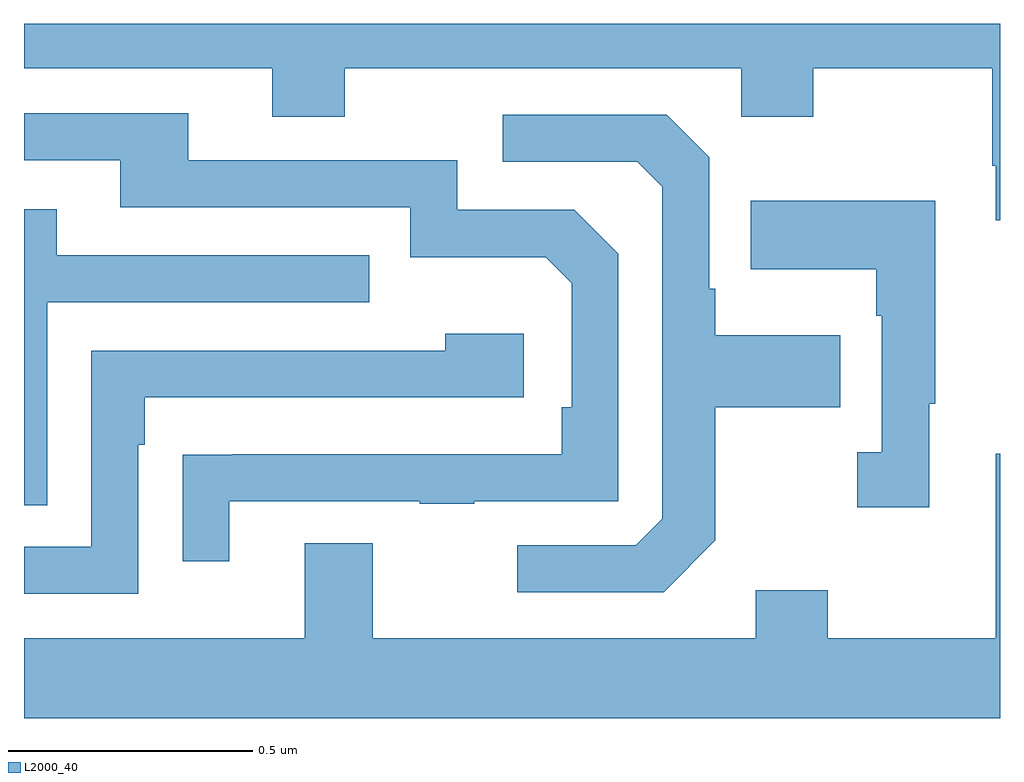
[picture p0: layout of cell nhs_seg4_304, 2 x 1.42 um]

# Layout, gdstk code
import gdstk
lib = gdstk.Library(unit=1e-6, precision=1e-09)
def P(c, l, *ps):  # polygons
    for p in ps: c.add(gdstk.Polygon(p, *l))
L2000_40 = (2000, 40)

nhs_seg4_304 = lib.new_cell('nhs_seg4_304')
P(nhs_seg4_304, L2000_40, [(116,808.9),(114,808.9),(114,808.808),(114.509,808.808),(114.509,808.709),(114.657,808.709),(114.657,808.808),(115.47,808.808),(115.47,808.709),(115.617,808.709),(115.617,808.808),(115.984,808.808),(115.984,808.609),(115.991,808.609),(115.991,808.497),(116,808.497)],
  [(114.421,807.921),(114.811,807.921),(114.811,807.916),(114.923,807.916),(114.923,807.921),(115.218,807.921),(115.218,808.428),(115.128,808.518),(114.888,808.518),(114.888,808.62),(114.337,808.62),(114.337,808.716),(114,808.716),(114,808.62),(114.197,808.62),(114.197,808.524),(114.792,808.524),(114.792,808.421),(115.069,808.421),(115.122,808.368),(115.122,808.114),(115.102,808.114),(115.102,808.017),(114.427,808.017),(114.427,808.016),(114.325,808.016),(114.325,807.798),(114.421,807.798)],
  [(115.417,807.841),(115.417,808.114),(115.673,808.114),(115.673,808.261),(115.417,808.261),(115.417,808.357),(115.404,808.357),(115.404,808.626),(115.317,808.713),(114.981,808.713),(114.981,808.617),(115.257,808.617),(115.308,808.566),(115.308,807.885),(115.254,807.831),(115.011,807.831),(115.011,807.735),(115.311,807.735)],
  [(115.855,808.121),(115.867,808.121),(115.867,808.537),(115.489,808.537),(115.489,808.397),(115.746,808.397),(115.746,808.301),(115.758,808.301),(115.758,808.022),(115.707,808.022),(115.707,807.909),(115.855,807.909)],
  [(114.048,808.329),(114.707,808.329),(114.707,808.425),(114.067,808.425),(114.067,808.519),(114,808.519),(114,807.913),(114.048,807.913)],
  [(114.234,808.037),(114.247,808.037),(114.247,808.134),(115.024,808.134),(115.024,808.264),(114.863,808.264),(114.863,808.23),(114.138,808.23),(114.138,807.828),(114,807.828),(114,807.732),(114.234,807.732)],
  [(116,808.018),(115.991,808.018),(115.991,807.64),(115.647,807.64),(115.647,807.739),(115.499,807.739),(115.499,807.64),(114.715,807.64),(114.715,807.835),(114.575,807.835),(114.575,807.64),(114,807.64),(114,807.476),(116,807.476)])

lib.write_gds('nhs_seg4_304.gds')
